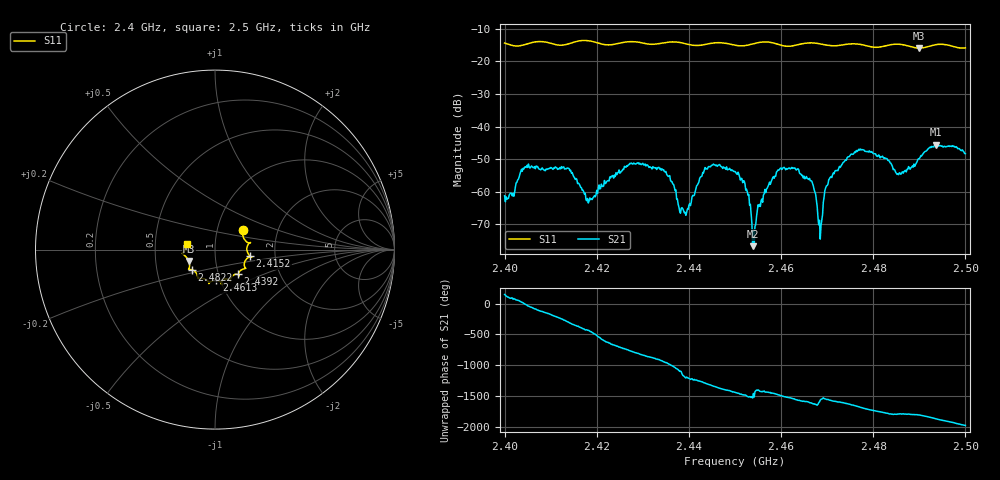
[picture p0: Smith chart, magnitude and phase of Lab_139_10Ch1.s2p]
# Hz S RI R 50
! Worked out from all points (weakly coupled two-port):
!   601 points, 2.4 GHz to 2.5 GHz, reference 50 ohm
!   highest |S21| = -45.61 dB at 2.4937 GHz (marker M1); lowest = -76.7 dB at 2.4538 GHz (marker M2)
!   lowest |S11| = -15.9 dB at 2.49 GHz (marker M3), VSWR 1.38, Z = 36.9 - j4.83 ohm
!   |S11| at or under -10 dB: start of sweep to end of sweep
!   S12 and S22 are empty: the file has one direction only
!   S11 on the Smith chart (normalised r, x): 2.4 GHz: 1.33, +0.31; 2.4152 GHz: 1.48, -0.11; 2.4392 GHz: 1.23, -0.35; 2.4613 GHz: 0.96, -0.34; 2.4822 GHz: 0.76, -0.17; 2.5 GHz: 0.73, +0.05
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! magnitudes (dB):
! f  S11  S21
! 2.4 GHz  -14.4  -61.2
! 2.4048 GHz  -14.7  -51.9
! 2.4152 GHz  -14.0  -55.7
! 2.4167 GHz  -13.6  -58.7
! 2.4187 GHz  -13.8  -62.4
! 2.4333 GHz  -14.6  -52.6
! 2.4392 GHz  -14.5  -66.3
! 2.4438 GHz  -14.7  -52.9
! 2.45 GHz  -15.0  -53.8
! 2.4525 GHz  -15.1  -59.2
! 2.4538 GHz  -14.6  -76.7
! 2.457 GHz  -14.0  -58.9
! 2.4613 GHz  -15.4  -53.1
! 2.4667 GHz  -14.3  -56.8
! 2.4685 GHz  -14.6  -74.5
! 2.4702 GHz  -15.1  -57.7
! 2.4748 GHz  -14.6  -49.2
! 2.4822 GHz  -15.4  -49.5
! 2.4833 GHz  -15.0  -50.5
! 2.49 GHz  -15.9  -49.8
! 2.4937 GHz  -14.8  -45.6
! 2.5 GHz  -15.8  -48.3
